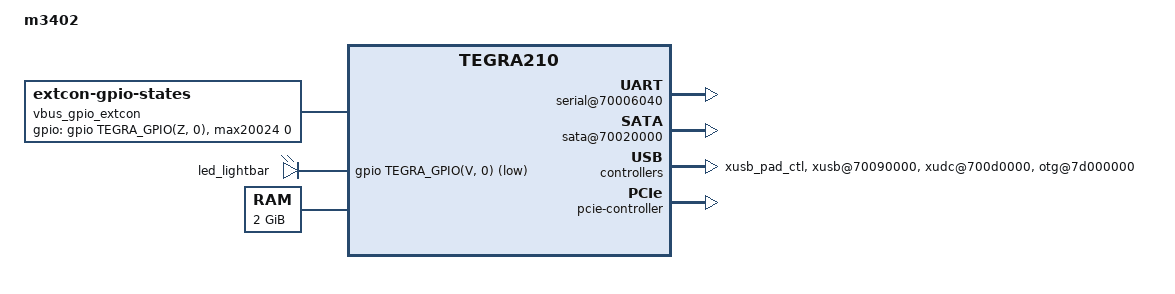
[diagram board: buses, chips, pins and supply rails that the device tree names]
/*
 * T210-
 *
 * arch/arm64/boot/dts/tegra210-m3402-common.dtsi
 *
 * Copyright (c) 2016, NVIDIA CORPORATION.  All rights reserved.
 *
 * This program is free software; you can redistribute it and/or modify
 * it under the terms of the GNU General Public License as published by
 * the Free Software Foundation; version 2 of the License.
 *
 * This program is distributed in the hope that it will be useful, but WITHOUT
 * ANY WARRANTY; without even the implied warranty of MERCHANTABILITY or
 * FITNESS FOR A PARTICULAR PURPOSE.  See the GNU General Public License for
 * more details.
 *
 */

#include "tegra210-soc-shield.dtsi"
#include <dt-bindings/interrupt-controller/arm-gic.h>
#include <dt-bindings/gpio/tegra-gpio.h>
#include <dt-bindings/padctrl/tegra210-pads.h>
#include "tegra210-platforms/tegra210-prods.dtsi"

#include "tegra210-platforms/tegra210-edp.dtsi"
#include "tegra210-platforms/tegra210-sysedp.dtsi"
#include "tegra210-platforms/tegra210-audio.dtsi"

#include "tegra210-platforms/tegra210-power-tree-m3402-a00.dtsi"
#include "tegra210-platforms/tegra210-power-dvfs-m3402-a00.dtsi"
#include "tegra210-platforms/tegra210-emc-m3402-a00.dtsi"
#include "tegra210-platforms/tegra210-ers-clk-init.dtsi"
#include "tegra210-platforms/tegra210-pinmux-drive-sdmmc-common.dtsi"

#include "tegra210-platforms/tegra210-vcm31-disp-m3402-a00-e2603.dtsi"

#include <dt-bindings/sound/tegra-asoc-alt.h>

#include <dt-bindings/input/input.h>

#define EXTCON_NONE		0
#define EXTCON_USB		1
#define EXTCON_USB_Host		2

/ {
	model = "m3402";
	compatible = "nvidia,m3402", "nvidia,tegra210";
	nvidia,dtsfilename = __FILE__;
	/*nvidia,boardids = "2382:0000:000";*/

	/* Place holder for Boardinfo,this will be updated by QB
	* by reading the values from BCT partition
	*/
	nvidia,boardinfo {
		macids {
			mac0-interface = "0000";
			mac0-address = <00 00 00 00 00 00>;
			mac0-address-string = "00 00 00 00 00 00";
		};
		skuinfo {
			skustring = "000-00000-0000-000";
			skuver = "00";
		};
		prodinfo {
			prodstring = "000-00000-0000-000";
			prodver = "0";
		};
		serialnuminfo {
			serialnumstring = "0000000";
			version = "0";
		};
	};

	cpuidle {
		cc4-no-retention;
	};

	chosen {
		bootargs = "earlycon=uart8250,mmio32,0x70006040";
		stdout-path = &uartb;
	};

	serial@70006000 {
		status = "disabled";
	};

	serial@70006040 {
		compatible = "nvidia,tegra210-uart", "nvidia,tegra114-hsuart";
		console-port;
		sqa-automation-port;
		status = "okay";
	};

	serial@70006200 {
		status = "disabled";
	};

	serial@70006300 {
		status = "disabled";
	};

	gpu-dvfs-rework {
		status = "disabled";
	};

	sata@70020000 {
		status = "okay";
		nvidia,enable-sata-port;
	};

	extcon {
		compatible = "simple-bus";
		device_type = "external-connection";
		#address-cells = <1>;
		#size-cells = <0>;

		extcon@0 {
			gpio = <&max20024 0 0>;
			status = "disabled";
		};

		vbus_gpio_extcon: extcon@1 {
			  compatible = "extcon-gpio-states";
			  reg = <0x1>;
			  extcon-gpio,name = "VBUS";
			  extcon-gpio,cable-states = <0x3 0x0
						      0x0 0x1
						      0x1 0x2
						      0x2 0x1>;
			  gpios = <&gpio TEGRA_GPIO(Z, 0) 0 &max20024 0 0>;
			  extcon-gpio,out-cable-name-strings = "USB", "USB-Host";
			  extcon-gpio,out-cable-names = <EXTCON_USB EXTCON_USB_Host EXTCON_NONE>;
			  #extcon-cells = <1>;
			  extcon-gpio,debounce = <0x900000>;
		  };
	};

	xusb_pad_ctl: xusb_padctl {
		nvidia,ss_portmap = <0x7771>;
		/* Use 0xF to disable lane assign */
		nvidia,lane_owner = <0xFFF6>;
		nvidia,otg_portmap = <0x0100>;
		/*
		 *nvidia,lane-map = <0x00000002>;
		 *nvidia,enable-sata-port;
		 */
		status = "okay";
	};

	xusb@70090000 {

		/*
		 *portmap - bit-field indicating which non-OTG ports are
		 *		controlled by XHCI (SSP3 and USB2P2)
		 *bit[0-3]  : SS ports 0 to 3
		 *bit[8-11] : HS ports 0 to 3
		 */
		nvidia,gpio_ss1_sata = <0>;
		nvidia,ulpicap = <0>; /* No ulpi support. can we remove */
		nvidia,portmap = <0x0E01>;
		nvidia,common_padctl = <&xusb_pad_ctl>;
		status = "okay";
	};

	xudc@700d0000 {

		/*
		 *portmap - bit-field indicating which non-OTG ports are
		 *		controlled by XUDC (None)
		 *bit[0-3]  : SS ports 0 to 3
		 *bit[8-11] : HS ports 0 to 3
		 */
		extcon-cables = <&vbus_gpio_extcon 0 &vbus_gpio_extcon 1>;
		extcon-cable-names = "vbus", "id";
		nvidia,common_padctl = <&xusb_pad_ctl>;
		nvidia,portmap = <0x0100>;
		#extcon-cells = <1>;
		status = "okay";
		extcon-cables = <&vbus_gpio_extcon 0 &vbus_gpio_extcon 1>;
		extcon-cable-names = "vbus", "id";
	};

	udc@7d000000 {
		nvidia,port-otg;
		nvidia,charging-supported;
		#extcon-cells = <1>;
		status = "disabled";
		nvidia,enable-pmu-vbus-detection;
		nvidia,id-detection-type = <1>;
		extcon-cables = <&vbus_gpio_extcon 0>;
		extcon-cable-names = "vbus";
	};

	otg@7d000000 {
		#extcon-cells = <1>;
		status = "okay";
		nvidia,enable-pmu-vbus-detection;
		nvidia,id-detection-type = <1>;
		extcon-cables = <&vbus_gpio_extcon 0 &vbus_gpio_extcon 1>;
		extcon-cable-names = "vbus", "id";
	};

	spi@7000da00 {
		status = "disabled";
		spi@0 {
			compatible = "saf36xx";
			spi-max-frequency = <4000000>;
			spi-cpha;
			reg = <0>;
		};
		spi-touch19x12@0 {
			avdd-supply = <&vdd_dummy>;
			dvdd-supply = <&vdd_dummy>;
		};
		spi-touch25x16@0 {
			avdd-supply = <&vdd_dummy>;
			dvdd-supply = <&vdd_dummy>;
		};
		spi-touch14x8@0 {
			avdd-supply = <&vdd_dummy>;
			dvdd-supply = <&vdd_dummy>;
		};
	};

	pcie-controller {
		status = "okay";
		nvidia,lane-map = <0x14>;
		pci@1,0 {
			status = "okay";
			nvidia,num-lanes = <4>;
		};

		pci@2,0 {
			status = "disabled";
		};
	};

	watchdog@60005100 {
		status = "disabled";
	};

	pwm-leds {
		compatible = "pwm-leds";
		lightbar {
			label = "led_lightbar";
			pwms = <&tegra_pwm 0 10000000>;
			gpios = <&gpio TEGRA_GPIO(V, 0) GPIO_ACTIVE_LOW>;
			max-brightness = <255>;
			default-brightness = <255>;
			linux,default-trigger = "default-on";
		};
	};

	thermal-zones {
		CPU_therm {
			thermal-zone-params {
				governor-name = "pid_thermal_gov";
				max_err_temp = <9000>;
				max_err_gain = <1000>;
				gain_p = <1000>;
				gain_d = <0>;
				up_compensation = <20>;
				down_compensation = <20>;
			};

			trips {
				cpu_critical {
					temperature = <99000>;
					hysteresis = <0>;
					type = "critical";
					writable;
				};

				cpu_heavy {
					temperature = <95000>;
					hysteresis = <0>;
					type = "hot";
					writable;
				};

				cpu_throttle {
					temperature = <85500>;
					hysteresis = <0>;
					type = "passive";
					writable;
				};

				cpu_vmin1: cpu-vmin1 {
					temperature = <20000>;
					hysteresis = <1000>;
					type = "active";
					writable;
				};
			};
			cooling-maps {

				map0 {
					trip = <
			&{/thermal-zones/CPU_therm/trips/cpu_critical}>;
					cdev-type = "tegra-shutdown";
					cooling-device = <
			&{/soctherm@0x700E2000/throttle@critical}
					THERMAL_NO_LIMIT THERMAL_NO_LIMIT>;
				};
				map1 {
					trip = <
			&{/thermal-zones/CPU_therm/trips/cpu_heavy}>;
					cdev-type = "tegra-heavy";
					cooling-device = <
			&{/soctherm@0x700E2000/throttle@heavy}
					THERMAL_NO_LIMIT THERMAL_NO_LIMIT>;
				};
				map2 {
					trip = <
			&{/thermal-zones/CPU_therm/trips/cpu_throttle}>;
					cdev-type = "cpu-balanced";
					cooling-device = <
			&{/bthrot_cdev/cpu_balanced}
					THERMAL_NO_LIMIT THERMAL_NO_LIMIT>;
				};
				vdd-cpu-map1 {
					trip = <&cpu_vmin1>;
					cooling-device = <&cpu_vmin_cdev 1 1>;
				};
			};
		};

		GPU_therm {

			thermal-zone-params {
				governor-name = "pid_thermal_gov";
				max_err_temp = <9000>;
				max_err_gain = <1000>;
				gain_p = <1000>;
				gain_d = <0>;
				up_compensation = <20>;
				down_compensation = <20>;
			};

			trips {
				gpu_critical {
					temperature = <97500>;
					hysteresis = <0>;
					type = "critical";
					writable;
				};
				gpu_heavy {
					temperature = <94500>;
					hysteresis = <0>;
					type = "hot";
					writable;
				};
				gpu_throttle {
					temperature = <85000>;
					hysteresis = <0>;
					type = "passive";
					writable;
				};
				gpu_scaling0: gpu-scaling0 {
					temperature = <(-10000)>;
					hysteresis = <0>;
					type = "active";
				};

				gpu_scaling1: gpu-scaling1 {
					temperature = <20000>;
					hysteresis = <1000>;
					type = "active";
					writable;
				};
			};

			cooling-maps {
				map0 {
					trip = <
			&{/thermal-zones/GPU_therm/trips/gpu_critical}>;
					cdev-type = "tegra-shutdown";
					cooling-device = <
			&{/soctherm@0x700E2000/throttle@critical}
					THERMAL_NO_LIMIT THERMAL_NO_LIMIT>;
				};
				map1 {
					trip = <
			&{/thermal-zones/GPU_therm/trips/gpu_heavy}>;
					cdev-type = "tegra-heavy";
					cooling-device = <
			&{/soctherm@0x700E2000/throttle@heavy}
					THERMAL_NO_LIMIT THERMAL_NO_LIMIT>;
				};
				map2 {
					trip = <
			&{/thermal-zones/GPU_therm/trips/gpu_throttle}>;
					cdev-type = "gpu-balanced";
					cooling-device = <
			&{/bthrot_cdev/gpu_balanced}
					THERMAL_NO_LIMIT THERMAL_NO_LIMIT>;
				};
				vdd-gpu-map1 {
					trip = <&gpu_scaling1>;
					cooling-device = <
						&gpu_scaling_cdev 1 1>;
				};
			};
		};

		MEM_therm {
			trips {
				mem_critical {
					temperature = <97500>;
					hysteresis = <0>;
					type = "critical";
					writable;
				};
			};
			cooling-maps {
				map0 {
					trip = <
			&{/thermal-zones/MEM_therm/trips/mem_critical}>;
					cdev-type = "tegra-shutdown";
					cooling-device = <
			&{/soctherm@0x700E2000/throttle@critical}
					THERMAL_NO_LIMIT THERMAL_NO_LIMIT>;
				};
			};
		};

		PLL_therm {
			thermal-zone-params {
				governor-name = "pid_thermal_gov";
				max_err_temp = <9000>;
				max_err_gain = <1000>;
				gain_p = <1000>;
				gain_d = <0>;
				up_compensation = <20>;
				down_compensation = <20>;
			};
			trips {
				pll_critical {
					temperature = <100000>;
					hysteresis = <0>;
					type = "critical";
					writable;
				};

				core_vmin1: core-vmin1 {
					temperature = <20000>;
					hysteresis = <1000>;
					type = "active";
					writable;
				};
			};
			cooling-maps {
				map0 {
					trip = <
			&{/thermal-zones/PLL_therm/trips/pll_critical}>;
					cdev-type = "tegra-shutdown";
					cooling-device = <
			&{/soctherm@0x700E2000/throttle@critical}
					THERMAL_NO_LIMIT THERMAL_NO_LIMIT>;
				};

				vdd-core-map1 {
					trip = <&core_vmin1>;
					cooling-device = <&core_vmin_cdev 1 1>;
				};
			};
		};

	};

	memory@80000000 {
		device_type = "memory";
		reg = < 0x0 0x80000000 0x0 0x80000000 >;
	};

	adma@702e2000  {
		interrupts = <0 24 0x04
			0 25 0x04
			0 26 0x04
			0 27 0x04
			0 28 0x04
			0 29 0x04
			0 30 0x04
			0 31 0x04
			0 32 0x04
			0 33 0x04>;
		dma-channels = <10>;
		status = "okay";
	};

};
